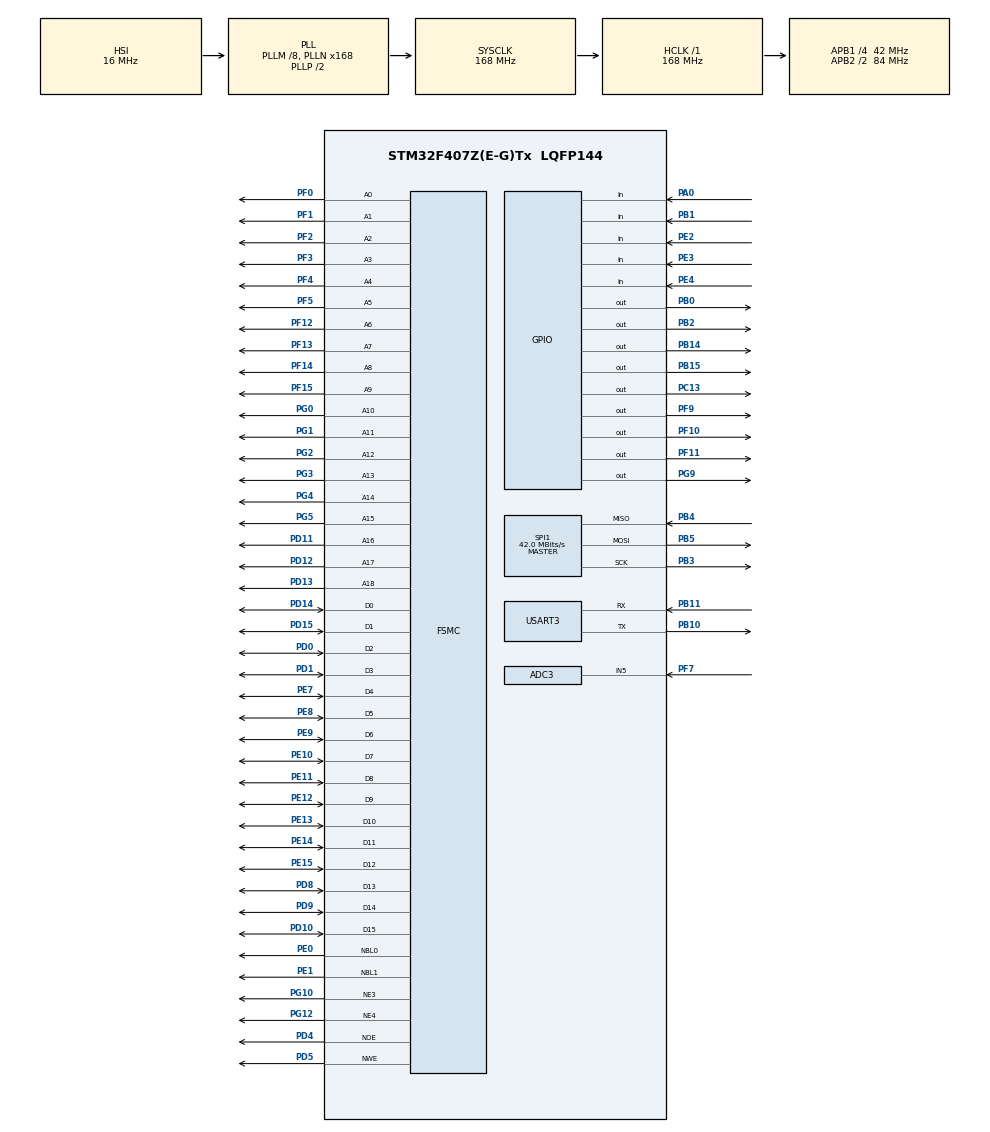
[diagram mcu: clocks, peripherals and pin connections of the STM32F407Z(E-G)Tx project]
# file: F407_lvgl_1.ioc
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ADC3.Channel-0\#ChannelRegularConversion=ADC_CHANNEL_5
ADC3.NbrOfConversionFlag=1
ADC3.Rank-0\#ChannelRegularConversion=1
ADC3.SamplingTime-0\#ChannelRegularConversion=ADC_SAMPLETIME_480CYCLES
FREERTOS.Mutexes01=my_Printf_Mutex01,Dynamic,NULL,Available
FREERTOS.Tasks01=lvgl_Task,48,2048,Start_lvgl_Task01,Default,NULL,Dynamic,NULL,NULL;touch_Task02,16,512,Start_touch_Task02,Default,NULL,Dynamic,NULL,NULL;Key_Task03,24,1024,Start_Key_Task03,Default,NULL,Dynamic,NULL,NULL;Senor_Task04,16,512,Start_Senor_Task04,Default,NULL,Dynamic,NULL,NULL
FREERTOS.Timers01=lvgl_Timer01,lvgl_Callback01,osTimerPeriodic,Default,NULL,Dynamic,NULL;Wifi_Timer02,Callback02,osTimerPeriodic,Default,NULL,Dynamic,NULL
FREERTOS.configMINIMAL_STACK_SIZE=256
FREERTOS.configTOTAL_HEAP_SIZE=65536
FSMC.AddressSetupTime2=0
FSMC.BusTurnAroundDuration2=0
FSMC.DataSetupTime2=8
FSMC.ExtendedMode1=FSMC_EXTENDED_MODE_ENABLE
FSMC.WriteOperation2=FSMC_WRITE_OPERATION_ENABLE
Mcu.Family=STM32F4
Mcu.Name=STM32F407Z(E-G)Tx
Mcu.Package=LQFP144
NVIC.PriorityGroup=NVIC_PRIORITYGROUP_4
NVIC.TIM1_UP_TIM10_IRQn=true\:15\:0\:false\:false\:true\:false\:false\:true\:true
NVIC.TimeBase=TIM1_UP_TIM10_IRQn
NVIC.TimeBaseIP=TIM1
NVIC.USART3_IRQn=true\:5\:0\:true\:false\:true\:true\:true\:true\:true
PA0-WKUP.GPIO_PuPd=GPIO_PULLUP
PA0-WKUP.Signal=GPIO_Input
PA13.Mode=Serial_Wire
PA13.Signal=SYS_JTMS-SWDIO
PA14.Mode=Serial_Wire
PA14.Signal=SYS_JTCK-SWCLK
PB0.Signal=GPIO_Output
PB1.Signal=GPIO_Input
PB10.Mode=Asynchronous
PB10.Signal=USART3_TX
PB11.Mode=Asynchronous
PB11.Signal=USART3_RX
PB14.Signal=GPIO_Output
PB15.Signal=GPIO_Output
PB2.Signal=GPIO_Output
PB3.Mode=Full_Duplex_Master
PB3.Signal=SPI1_SCK
PB4.Mode=Full_Duplex_Master
PB4.Signal=SPI1_MISO
PB5.Mode=Full_Duplex_Master
PB5.Signal=SPI1_MOSI
PB8.GPIO_Pu=GPIO_PULLUP
PB8.Signal=I2C1_SCL
PB9.GPIO_Pu=GPIO_PULLUP
PB9.Signal=I2C1_SDA
PC13-ANTI_TAMP.Signal=GPIO_Output
PC14-OSC32_IN.Mode=LSE-External-Oscillator
PC14-OSC32_IN.Signal=RCC_OSC32_IN
PC15-OSC32_OUT.Mode=LSE-External-Oscillator
PC15-OSC32_OUT.Signal=RCC_OSC32_OUT
PD0.Signal=FSMC_D2_DA2
PD1.Signal=FSMC_D3_DA3
PD10.Signal=FSMC_D15_DA15
PD11.Signal=FSMC_A16_CLE
PD12.Signal=FSMC_A17_ALE
PD13.Signal=FSMC_A18
PD14.Signal=FSMC_D0_DA0
PD15.Signal=FSMC_D1_DA1
PD4.Signal=FSMC_NOE
PD5.Signal=FSMC_NWE
PD8.Signal=FSMC_D13_DA13
PD9.Signal=FSMC_D14_DA14
PE0.Signal=FSMC_NBL0
PE1.Signal=FSMC_NBL1
PE10.Signal=FSMC_D7_DA7
PE11.Signal=FSMC_D8_DA8
PE12.Signal=FSMC_D9_DA9
PE13.Signal=FSMC_D10_DA10
PE14.Signal=FSMC_D11_DA11
PE15.Signal=FSMC_D12_DA12
PE2.GPIO_PuPd=GPIO_PULLUP
PE2.Signal=GPIO_Input
PE3.GPIO_PuPd=GPIO_PULLUP
PE3.Signal=GPIO_Input
PE4.GPIO_PuPd=GPIO_PULLUP
PE4.Signal=GPIO_Input
PE7.Signal=FSMC_D4_DA4
PE8.Signal=FSMC_D5_DA5
PE9.Signal=FSMC_D6_DA6
PF0.Signal=FSMC_A0
PF1.Signal=FSMC_A1
PF10.PinState=GPIO_PIN_SET
PF10.Signal=GPIO_Output
PF11.Signal=GPIO_Output
PF12.Signal=FSMC_A6
PF13.Signal=FSMC_A7
PF14.Signal=FSMC_A8
PF15.Signal=FSMC_A9
PF2.Signal=FSMC_A2
PF3.Signal=FSMC_A3
PF4.Signal=FSMC_A4
PF5.Signal=FSMC_A5
PF7.Mode=IN5
PF7.Signal=ADC3_IN5
PF9.PinState=GPIO_PIN_SET
PF9.Signal=GPIO_Output
PG0.Signal=FSMC_A10
PG1.Signal=FSMC_A11
PG10.Mode=NorPsramChipSelect3_2
PG10.Signal=FSMC_NE3
PG12.Mode=NorPsramChipSelect4_1
PG12.Signal=FSMC_NE4
PG2.Signal=FSMC_A12
PG3.Signal=FSMC_A13
PG4.Signal=FSMC_A14
PG5.Signal=FSMC_A15
PG9.GPIO_PuPd=GPIO_PULLUP
PG9.Signal=GPIO_Output
PH0-OSC_IN.Mode=HSE-External-Oscillator
PH0-OSC_IN.Signal=RCC_OSC_IN
PH1-OSC_OUT.Mode=HSE-External-Oscillator
PH1-OSC_OUT.Signal=RCC_OSC_OUT
ProjectManager.HeapSize=0x1000
ProjectManager.StackSize=0x1000
ProjectManager.TargetToolchain=CMake
RCC.48MHZClocksFreq_Value=84000000
RCC.AHBFreq_Value=168000000
RCC.APB1CLKDivider=RCC_HCLK_DIV4
RCC.APB1Freq_Value=42000000
RCC.APB1TimFreq_Value=84000000
RCC.APB2CLKDivider=RCC_HCLK_DIV2
RCC.APB2Freq_Value=84000000
RCC.APB2TimFreq_Value=168000000
RCC.CortexFreq_Value=168000000
RCC.HCLKFreq_Value=168000000
RCC.HSE_VALUE=25000000
RCC.HSI_VALUE=16000000
RCC.PLLM=8
RCC.PLLN=168
RCC.SYSCLKFreq_VALUE=168000000
RCC.SYSCLKSource=RCC_SYSCLKSOURCE_PLLCLK
RCC.VCOOutputFreq_Value=336000000
SH.FSMC_A0.0=FSMC_A0,19b-a2
SH.FSMC_A1.0=FSMC_A1,19b-a2
SH.FSMC_A10.0=FSMC_A10,19b-a2
SH.FSMC_A11.0=FSMC_A11,19b-a2
SH.FSMC_A12.0=FSMC_A12,19b-a2
SH.FSMC_A13.0=FSMC_A13,19b-a2
SH.FSMC_A14.0=FSMC_A14,19b-a2
SH.FSMC_A15.0=FSMC_A15,19b-a2
SH.FSMC_A16_CLE.0=FSMC_A16,19b-a2
SH.FSMC_A17_ALE.0=FSMC_A17,19b-a2
SH.FSMC_A18.0=FSMC_A18,19b-a2
SH.FSMC_A2.0=FSMC_A2,19b-a2
SH.FSMC_A3.0=FSMC_A3,19b-a2
SH.FSMC_A4.0=FSMC_A4,19b-a2
SH.FSMC_A5.0=FSMC_A5,19b-a2
SH.FSMC_A6.0=FSMC_A6,A6_1
SH.FSMC_A6.1=FSMC_A6,19b-a2
SH.FSMC_A7.0=FSMC_A7,19b-a2
SH.FSMC_A8.0=FSMC_A8,19b-a2
SH.FSMC_A9.0=FSMC_A9,19b-a2
SH.FSMC_D0_DA0.0=FSMC_D0,16b-d1
SH.FSMC_D0_DA0.1=FSMC_D0,16b-d2
SH.FSMC_D10_DA10.0=FSMC_D10,16b-d1
SH.FSMC_D10_DA10.1=FSMC_D10,16b-d2
SH.FSMC_D11_DA11.0=FSMC_D11,16b-d1
SH.FSMC_D11_DA11.1=FSMC_D11,16b-d2
SH.FSMC_D12_DA12.0=FSMC_D12,16b-d1
SH.FSMC_D12_DA12.1=FSMC_D12,16b-d2
SH.FSMC_D13_DA13.0=FSMC_D13,16b-d1
SH.FSMC_D13_DA13.1=FSMC_D13,16b-d2
SH.FSMC_D14_DA14.0=FSMC_D14,16b-d1
SH.FSMC_D14_DA14.1=FSMC_D14,16b-d2
SH.FSMC_D15_DA15.0=FSMC_D15,16b-d1
SH.FSMC_D15_DA15.1=FSMC_D15,16b-d2
SH.FSMC_D1_DA1.0=FSMC_D1,16b-d1
SH.FSMC_D1_DA1.1=FSMC_D1,16b-d2
SH.FSMC_D2_DA2.0=FSMC_D2,16b-d1
SH.FSMC_D2_DA2.1=FSMC_D2,16b-d2
SH.FSMC_D3_DA3.0=FSMC_D3,16b-d1
SH.FSMC_D3_DA3.1=FSMC_D3,16b-d2
SH.FSMC_D4_DA4.0=FSMC_D4,16b-d1
SH.FSMC_D4_DA4.1=FSMC_D4,16b-d2
SH.FSMC_D5_DA5.0=FSMC_D5,16b-d1
SH.FSMC_D5_DA5.1=FSMC_D5,16b-d2
SH.FSMC_D6_DA6.0=FSMC_D6,16b-d1
SH.FSMC_D6_DA6.1=FSMC_D6,16b-d2
SH.FSMC_D7_DA7.0=FSMC_D7,16b-d1
SH.FSMC_D7_DA7.1=FSMC_D7,16b-d2
SH.FSMC_D8_DA8.0=FSMC_D8,16b-d1
SH.FSMC_D8_DA8.1=FSMC_D8,16b-d2
SH.FSMC_D9_DA9.0=FSMC_D9,16b-d1
SH.FSMC_D9_DA9.1=FSMC_D9,16b-d2
SH.FSMC_NBL0.0=FSMC_NBL0,2ByteEnable2
SH.FSMC_NBL1.0=FSMC_NBL1,2ByteEnable2
SH.FSMC_NOE.0=FSMC_NOE,Lcd1
SH.FSMC_NOE.1=FSMC_NOE,Sram2
SH.FSMC_NWE.0=FSMC_NWE,Lcd1
SH.FSMC_NWE.1=FSMC_NWE,Sram2
SPI1.BaudRatePrescaler=SPI_BAUDRATEPRESCALER_2
SPI1.CalculateBaudRate=42.0 MBits/s
SPI1.Direction=SPI_DIRECTION_2LINES
SPI1.Mode=SPI_MODE_MASTER
SPI1.VirtualType=VM_MASTER
USART3.VirtualMode=VM_ASYNC
VP_FREERTOS_VS_CMSIS_V2.Mode=CMSIS_V2
VP_SYS_VS_tim1.Mode=TIM1
board=custom

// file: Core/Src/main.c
/* USER CODE BEGIN Header */
/**
  ******************************************************************************
  * @file           : main.c
  * @brief          : Main program body
  ******************************************************************************
  * @attention
  *
  * Copyright (c) 2026 STMicroelectronics.
  * All rights reserved.
  *
  * This software is licensed under terms that can be found in the LICENSE file
  * in the root directory of this software component.
  * If no LICENSE file comes with this software, it is provided AS-IS.
  *
  ******************************************************************************
  */
/* USER CODE END Header */
#include "main.h"
#include "cmsis_os.h"
#include "adc.h"
#include "spi.h"
#include "usart.h"
#include "gpio.h"
#include "fsmc.h"

/* USER CODE BEGIN Includes */
#include "lcd.h"
#include "lvgl.h"
/* USER CODE END Includes */

void SystemClock_Config(void);
void MX_FREERTOS_Init(void);

int main(void)
{

  /* MCU Configuration--------------------------------------------------------*/

  /* Reset of all peripherals, Initializes the Flash interface and the Systick. */
  HAL_Init();

  /* Configure the system clock */
  SystemClock_Config();

  /* Initialize all configured peripherals */
  MX_GPIO_Init();
  MX_FSMC_Init();
  MX_SPI1_Init();
  MX_USART3_UART_Init();
  MX_ADC3_Init();

  /* Init scheduler */
  osKernelInitialize();

  /* Call init function for freertos objects (in cmsis_os2.c) */
  MX_FREERTOS_Init();

  /* Start scheduler */
  osKernelStart();

  /* We should never get here as control is now taken by the scheduler */

  /* Infinite loop */
  while (1)
  {

  }
}

void SystemClock_Config(void)
{
  RCC_OscInitTypeDef RCC_OscInitStruct = {0};
  RCC_ClkInitTypeDef RCC_ClkInitStruct = {0};

  /** Configure the main internal regulator output voltage
  */
  __HAL_RCC_PWR_CLK_ENABLE();
  __HAL_PWR_VOLTAGESCALING_CONFIG(PWR_REGULATOR_VOLTAGE_SCALE1);

  /** Initializes the RCC Oscillators according to the specified parameters
  * in the RCC_OscInitTypeDef structure.
  */
  RCC_OscInitStruct.OscillatorType = RCC_OSCILLATORTYPE_HSI;
  RCC_OscInitStruct.HSIState = RCC_HSI_ON;
  RCC_OscInitStruct.HSICalibrationValue = RCC_HSICALIBRATION_DEFAULT;
  RCC_OscInitStruct.PLL.PLLState = RCC_PLL_ON;
  RCC_OscInitStruct.PLL.PLLSource = RCC_PLLSOURCE_HSI;
  RCC_OscInitStruct.PLL.PLLM = 8;
  RCC_OscInitStruct.PLL.PLLN = 168;
  RCC_OscInitStruct.PLL.PLLP = RCC_PLLP_DIV2;
  RCC_OscInitStruct.PLL.PLLQ = 4;
  if (HAL_RCC_OscConfig(&RCC_OscInitStruct) != HAL_OK)
  {
    Error_Handler();
  }

  /** Initializes the CPU, AHB and APB buses clocks
  */
  RCC_ClkInitStruct.ClockType = RCC_CLOCKTYPE_HCLK|RCC_CLOCKTYPE_SYSCLK
                              |RCC_CLOCKTYPE_PCLK1|RCC_CLOCKTYPE_PCLK2;
  RCC_ClkInitStruct.SYSCLKSource = RCC_SYSCLKSOURCE_PLLCLK;
  RCC_ClkInitStruct.AHBCLKDivider = RCC_SYSCLK_DIV1;
  RCC_ClkInitStruct.APB1CLKDivider = RCC_HCLK_DIV4;
  RCC_ClkInitStruct.APB2CLKDivider = RCC_HCLK_DIV2;

  if (HAL_RCC_ClockConfig(&RCC_ClkInitStruct, FLASH_LATENCY_5) != HAL_OK)
  {
    Error_Handler();
  }
}

void HAL_TIM_PeriodElapsedCallback(TIM_HandleTypeDef *htim)
{
  if (htim->Instance == TIM1)
  {
    HAL_IncTick();
  }
}

void Error_Handler(void)
{
}

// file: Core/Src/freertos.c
/* USER CODE BEGIN Header */
/**
  ******************************************************************************
  * File Name          : freertos.c
  * Description        : Code for freertos applications
  ******************************************************************************
  * @attention
  *
  * Copyright (c) 2026 STMicroelectronics.
  * All rights reserved.
  *
  * This software is licensed under terms that can be found in the LICENSE file
  * in the root directory of this software component.
  * If no LICENSE file comes with this software, it is provided AS-IS.
  *
  ******************************************************************************
  */
/* USER CODE END Header */

#include "FreeRTOS.h"
#include "task.h"
#include "main.h"
#include "cmsis_os.h"

/* USER CODE BEGIN Includes */
#include "lcd.h"
#include "lvgl.h"
#include "lv_port_disp.h"
#include "lv_port_indev.h"
#include "ui.h"
#include  "key.h"
#include "led.h"
#include "usart.h"
#include "stdio.h"
#include "ui_events.h"
#include "ui_custom.h"
#include <string.h>
#include "dht11.h"
#include "adc.h"
#include "delay.h"
/* USER CODE END Includes */

/* USER CODE BEGIN PTD */
uint16_t t;
int flag ;
/* USER CODE END PTD */

/* USER CODE BEGIN PD */
#define WIFI_SCAN_TIMEOUT 8000
/* USER CODE END PD */

/* USER CODE BEGIN Variables */
/* WiFi variables moved to wifi_control.c */
/* USER CODE END Variables */
/* Definitions for lvgl_Task */
osThreadId_t lvgl_TaskHandle;
const osThreadAttr_t lvgl_Task_attributes = {
  .name = "lvgl_Task",
  .stack_size = 2048 * 4,
  .priority = (osPriority_t) osPriorityRealtime,
};
/* Definitions for touch_Task02 */
osThreadId_t touch_Task02Handle;
const osThreadAttr_t touch_Task02_attributes = {
  .name = "touch_Task02",
  .stack_size = 512 * 4,
  .priority = (osPriority_t) osPriorityBelowNormal,
};
/* Definitions for Key_Task03 */
osThreadId_t Key_Task03Handle;
const osThreadAttr_t Key_Task03_attributes = {
  .name = "Key_Task03",
  .stack_size = 1024 * 4,
  .priority = (osPriority_t) osPriorityNormal,
};
/* Definitions for Senor_Task04 */
osThreadId_t Senor_Task04Handle;
const osThreadAttr_t Senor_Task04_attributes = {
  .name = "Senor_Task04",
  .stack_size = 512 * 4,
  .priority = (osPriority_t) osPriorityBelowNormal,
};
/* Definitions for lvgl_Timer01 */
osTimerId_t lvgl_Timer01Handle;
const osTimerAttr_t lvgl_Timer01_attributes = {
  .name = "lvgl_Timer01"
};
/* Definitions for Wifi_Timer02 */
osTimerId_t Wifi_Timer02Handle;
const osTimerAttr_t Wifi_Timer02_attributes = {
  .name = "Wifi_Timer02"
};
/* Definitions for my_Printf_Mutex01 */
osMutexId_t my_Printf_Mutex01Handle;
const osMutexAttr_t my_Printf_Mutex01_attributes = {
  .name = "my_Printf_Mutex01"
};

void Start_lvgl_Task01(void *argument);
void Start_touch_Task02(void *argument);
void Start_Key_Task03(void *argument);
void Start_Senor_Task04(void *argument);
void lvgl_Callback01(void *argument);
void Callback02(void *argument);

void MX_FREERTOS_Init(void); /* (MISRA C 2004 rule 8.1) */

void MX_FREERTOS_Init(void) {
  /* Create the mutex(es) */
  /* creation of my_Printf_Mutex01 */
  my_Printf_Mutex01Handle = osMutexNew(&my_Printf_Mutex01_attributes);

  /* Create the timer(s) */
  /* creation of lvgl_Timer01 */
  lvgl_Timer01Handle = osTimerNew(lvgl_Callback01, osTimerPeriodic, NULL, &lvgl_Timer01_attributes);

  /* creation of Wifi_Timer02 (one-shot: auto scan WiFi 2s after power-on) */
  Wifi_Timer02Handle = osTimerNew(Callback02, osTimerOnce, NULL, &Wifi_Timer02_attributes);

  /* Create the thread(s) */
  /* creation of lvgl_Task */
  lvgl_TaskHandle = osThreadNew(Start_lvgl_Task01, NULL, &lvgl_Task_attributes);

  /* Start one-shot WiFi scan timer: 2s after boot */
  osTimerStart(Wifi_Timer02Handle, 2000);

  /* creation of touch_Task02 */
  touch_Task02Handle = osThreadNew(Start_touch_Task02, NULL, &touch_Task02_attributes);

  /* creation of Key_Task03 */
  Key_Task03Handle = osThreadNew(Start_Key_Task03, NULL, &Key_Task03_attributes);

  /* creation of Senor_Task04 */
  Senor_Task04Handle = osThreadNew(Start_Senor_Task04, NULL, &Senor_Task04_attributes);

}

void Start_lvgl_Task01(void *argument)
{
  /* USER CODE BEGIN Start_lvgl_Task01 */
  lv_init();
  lv_port_disp_init();
  lv_port_indev_init();

  ui_init();

  osTimerStart(lvgl_Timer01Handle, 5);  /* 5ms tick timer */

  /* Infinite loop */
  for(;;)
  {
    /* lv_timer_handler() 会处理所有到期的LVGL任务
     * 返回下一次需要调用的时间(ms)
     * 使用osDelay让出CPU,避免阻塞其他任务
     */
    uint32_t time_till_next = lv_timer_handler();

    /* 将 Key_Task 中标记的 UI 更新应用到屏幕（必须在 LVGL 任务中执行） */
    apply_ui_updates();

    /* 限制最小延时1ms,避免过于频繁调度 */
    if(time_till_next < 1) time_till_next = 1;
    /* 限制最大延时33ms,保证约30FPS的刷新率 */
    if(time_till_next > 33) time_till_next = 33;

    osDelay(time_till_next);
  }
  /* USER CODE END Start_lvgl_Task01 */
}

void Start_touch_Task02(void *argument)
{
  /* USER CODE BEGIN Start_touch_Task02 */
  (void)argument;

  /* Infinite loop - 预留任务，可用于未来扩展 */
  for(;;)
  {
    /* 100ms刷新一次足够显示串口数据 */
    osDelay(100);
  }
  /* USER CODE END Start_touch_Task02 */
}

/* USER CODE BEGIN Header_Start_Key_Task03 */
/**
* @brief Function implementing the Key_Task03 thread.
* @param argument: Not used
* @retval None
*/

/* WiFi functions moved to wifi_control.c */
void Send_AT_Command(const char *cmd)
{
    if (cmd == NULL) return;

    size_t len = strlen(cmd);
    while (len > 0 && (cmd[len - 1] == '\r' || cmd[len - 1] == '\n')) {
        len--;
    }
    if (len == 0) return;

    osMutexAcquire(my_Printf_Mutex01Handle, osWaitForever);
    HAL_UART_Transmit(&huart3, (const uint8_t *)cmd, (uint16_t)len, 200);
    HAL_UART_Transmit(&huart3, (const uint8_t *)"\n", 1, 20);
    osMutexRelease(my_Printf_Mutex01Handle);
}

/* Status deduplication buffers */
static char last_wifi_status[32] = "Disconnected";
static char last_server_status[32] = "Server Disconnected";
/* USER CODE END Header_Start_Key_Task03 */
void Start_Key_Task03(void *argument)
{
  /* USER CODE BEGIN Start_Key_Task03 */
  LED_Init();
  USART3_Init_IO();

  uint8_t key0_cnt = 0, key0_trig = 0;
  uint8_t key1_cnt = 0, key1_trig = 0;
  uint8_t key2_cnt = 0, key2_trig = 0;

  update_wifi_status("Disconnected");
  /* WiFi scan is now triggered by Wifi_Timer02 after 2s power-on delay */

  for(;;)
  {
    // 统一处理串口接收帧（只消费一次 frame_ready）
    if(usart3_rx_handler.frame_ready) {
      usart3_rx_handler.frame_ready = 0;
      char *rx = (char*)usart3_rx_handler.rx_buf;

      // 1. 如果在扫描期间，尝试解析 WiFi 列表
      if(is_wifi_scanning()) {
        parse_wifi_list(rx);
      }

      // 2. 判断是否为纯协议帧（只更新状态栏，不追加到 ui_Rxtext，避免刷屏）
      bool is_protocol = false;

      if(strncmp(rx, "STATUS:", 7) == 0) {
        is_protocol = true;
        if(strstr(rx, "STATUS:CONNECTED")) {
          update_wifi_status("Connected");
          if(strcmp(last_wifi_status, "Connected") != 0) {
            strcpy(last_wifi_status, "Connected");
            update_uart_rx_display(rx);
          }
        }
        else if(strstr(rx, "STATUS:FAILED")) {
          update_wifi_status("Password Error");
          if(strcmp(last_wifi_status, "Password Error") != 0) {
            strcpy(last_wifi_status, "Password Error");
            update_uart_rx_display(rx);
          }
        }
        else if(strstr(rx, "STATUS:BUSY")) {
          update_wifi_status("ESP busy, retry");
          update_uart_rx_display(rx);
        }
        else if(strstr(rx, "STATUS:CONNECTING")) {
          update_wifi_status("Connecting...");
          if(strcmp(last_wifi_status, "Connecting...") != 0) {
            strcpy(last_wifi_status, "Connecting...");
            update_uart_rx_display(rx);
          }
        }
        else if(strstr(rx, "STATUS:DISCONNECTED")) {
          update_wifi_status("Disconnected");
          if(strcmp(last_wifi_status, "Disconnected") != 0) {
            strcpy(last_wifi_status, "Disconnected");
            update_uart_rx_display(rx);
          }
        }
        else if(strstr(rx, "STATUS:DEBUG_SENT")) {
          // 用户需要看到调试发送确认，追加到 Rxtext
          update_uart_rx_display(rx);
        }
      }
      else if(strncmp(rx, "SERVER:", 7) == 0) {
        is_protocol = true;
        if(strstr(rx, "SERVER:CONNECTED")) {
          update_server_status("Server Connected");
          if(strcmp(last_server_status, "Server Connected") != 0) {
            strcpy(last_server_status, "Server Connected");
            update_uart_rx_display(rx);
          }
        }
        else if(strstr(rx, "SERVER:DISCONNECTED")) {
          update_server_status("Server Disconnected");
          if(strcmp(last_server_status, "Server Disconnected") != 0) {
            strcpy(last_server_status, "Server Disconnected");
            update_uart_rx_display(rx);
          }
        }
        else if(strstr(rx, "SERVER:CONNECTING")) {
          update_server_status("Server Connecting...");
          if(strcmp(last_server_status, "Server Connecting...") != 0) {
            strcpy(last_server_status, "Server Connecting...");
            update_uart_rx_display(rx);
          }
        }
      }
      else if(strncmp(rx, "WIFI_LIST:", 10) == 0) {
        is_protocol = true; // 已交给 parse_wifi_list 处理
      }
      else if(strncmp(rx, "BROWSER_CMD:", 12) == 0) {
        // 服务器命令：去掉前缀后显示在 Rxtext，便于查看下发的指令
        update_uart_rx_display(rx + 12);
        is_protocol = true;
      }

      // 3. 非协议帧才追加到 ui_Rxtext
      if(!is_protocol) {
        update_uart_rx_display(rx);
      }
    }

    // 扫描超时处理
    if(is_wifi_scanning() && (osKernelGetTickCount() - get_wifi_scan_start_time()) > WIFI_SCAN_TIMEOUT) {
      clear_wifi_scanning();
    }

    // KEY_0: 手动刷新 WiFi 列表
    if(Key_GetState(KEY_0) == KEY_PRESSED) {
      if(key0_cnt < 3) key0_cnt++;
      else if(!key0_trig) {
        key0_trig = 1;
        wifi_scan_start();
        LED1_Green_TOGGLE();
      }
    } else {
      key0_cnt = 0;
      key0_trig = 0;
    }

    // KEY_1: 连接 WiFi
    if(Key_GetState(KEY_1) == KEY_PRESSED) {
      if(key1_cnt < 3) key1_cnt++;
      else if(!key1_trig) {
        key1_trig = 1;
        do_wifi_connect(NULL);
      }
    } else {
      key1_cnt = 0;
      key1_trig = 0;
    }

    // KEY_2: 断开 WiFi
    if(Key_GetState(KEY_2) == KEY_PRESSED) {
      if(key2_cnt < 3) key2_cnt++;
      else if(!key2_trig) {
        key2_trig = 1;
        do_wifi_disconnect(NULL);
      }
    } else {
      key2_cnt = 0;
      key2_trig = 0;
    }

    // 每 3 秒轮询一次 WiFi 状态
    static uint32_t last_status_query = 0;
    if(osKernelGetTickCount() - last_status_query > 3000) {
      last_status_query = osKernelGetTickCount();
      Send_AT_Command("WIFI_STATUS");
    }

    osDelay(10);
  }
  /* USER CODE END Start_Key_Task03 */
}

void Start_Senor_Task04(void *argument)
{
  /* USER CODE BEGIN Start_Senor_Task04 */
    (void)argument;
    DHT11_Init();

    float temperature = 0.0f;
    float humidity = 0.0f;
    uint16_t light_raw = 0;

    /* Infinite loop */
    for(;;)
    {
        uint8_t dht11_ok = 0;

        vTaskSuspendAll();
        for(int retry = 0; retry < 3; retry++) {
            if(DHT11_Read_Data(&temperature, &humidity) == 0) {
                dht11_ok = 1;
                break;
            }
            delay_us(100);
        }
        xTaskResumeAll();

        uint32_t adc_sum = 0;
        for(int i = 0; i < 10; i++) {
            HAL_ADC_Start(&hadc3);
            if(HAL_ADC_PollForConversion(&hadc3, 10) == HAL_OK) {
                adc_sum += HAL_ADC_GetValue(&hadc3);
            }
            HAL_ADC_Stop(&hadc3);
        }
        light_raw = (uint16_t)(adc_sum / 10);

        update_sensor_display(temperature, humidity, light_raw);

        /* Upload sensor data to ESP-01 for WebSocket forwarding */
        if(dht11_ok) {
            char sensor_cmd[64];
            int temp_int = (int)(temperature * 10.0f);
            int humi_int = (int)humidity;
            snprintf(sensor_cmd, sizeof(sensor_cmd),
                     "SENSOR:%d,%d,%d,0,0", temp_int, humi_int, light_raw);
            Send_AT_Command(sensor_cmd);
        }

        osDelay(2000);
    }
  /* USER CODE END Start_Senor_Task04 */
}

/* lvgl_Callback01 function */
void lvgl_Callback01(void *argument)
{
  /* USER CODE BEGIN lvgl_Callback01 */
  lv_tick_inc(5);

  /* USER CODE END lvgl_Callback01 */
}

/* Callback02 function */
void Callback02(void *argument)
{
  /* USER CODE BEGIN Callback02 */
  (void)argument;
  /* One-shot timer: scan WiFi once after power-on (2s delay) */
  wifi_scan_start();
  /* USER CODE END Callback02 */
}
